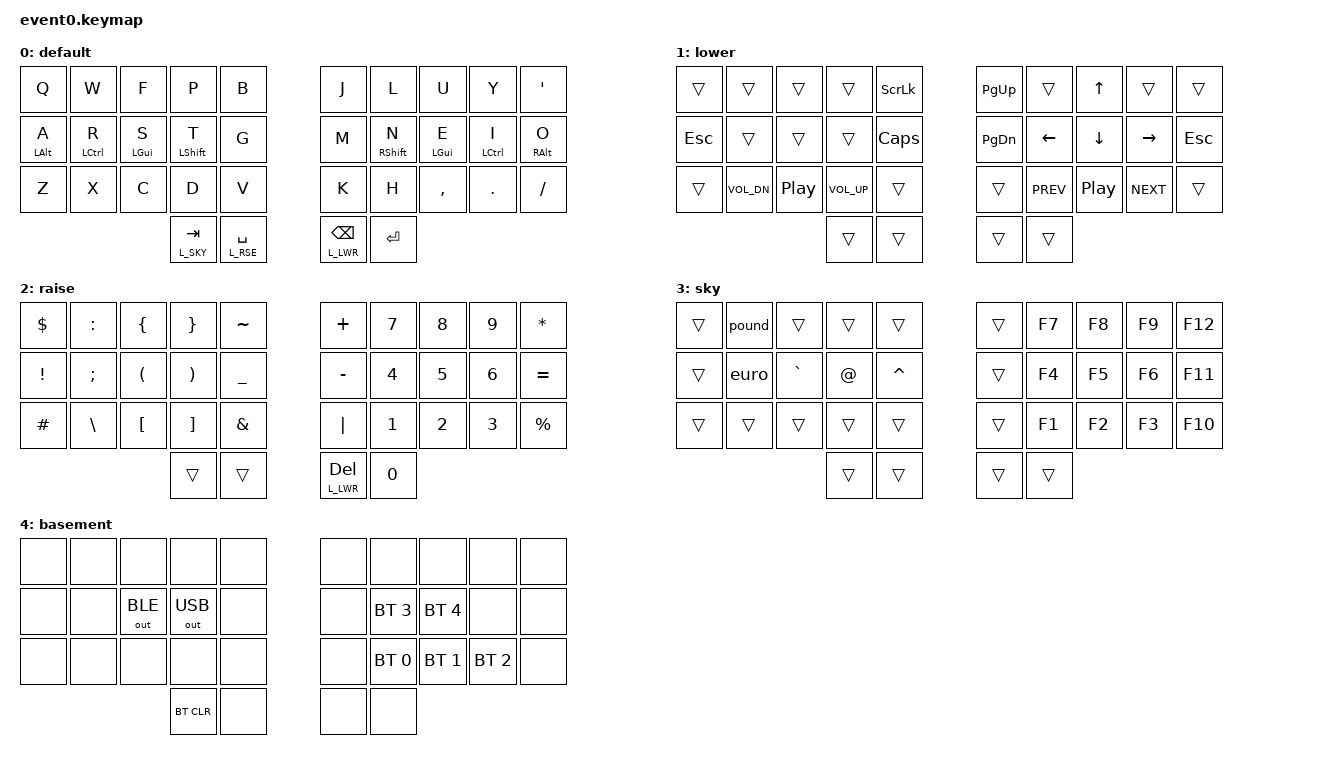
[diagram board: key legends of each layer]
#include <behaviors.dtsi>
#include <dt-bindings/zmk/keys.h>
#include <dt-bindings/zmk/bt.h>
#include <dt-bindings/zmk/outputs.h>

#define L_DFL 0
#define L_LWR 1
#define L_RSE 2
#define L_SKY 3
#define L_BSM 4

&mt {
	// Only trigger the mod behaviour when the time has expired
	flavor = "tap-preferred";
	tapping-term-ms = <180>;
	quick-tap-ms = <180>;
};
&lt {
	// Only trigger the layer behaviour when the time has expired
	flavor = "tap-preferred";
	tapping-term-ms = <180>;
	quick-tap-ms = <180>;
};

/ {
	behaviors {
		sm: shift_mod {
			compatible = "zmk,behavior-hold-tap";
			label = "SHIFT_MOD";
			#binding-cells = <2>;
			bindings = <&kp>, <&kp>;

			// Trigger the mod behaviour when the time has expired or the other
			// key is released while the mod is still down
			flavor = "balanced";
			tapping-term-ms = <150>;
			quick-tap-ms = <180>;
		};

		// IBus unicode (Linux only)
		euro: euro {
			compatible = "zmk,behavior-macro";
			label = "IBUS_EURO";
			#binding-cells = <0>;

			wait-ms = <5>;
			tap-ms = <5>;
			bindings = <&kp LC(LS(U))>, <&kp N2>, <&kp N0>, <&kp A>, <&kp C>, <&kp SPACE>;
		};
		pound: pound {
			compatible = "zmk,behavior-macro";
			label = "IBUS_POUND";
			#binding-cells = <0>;

			wait-ms = <5>;
			tap-ms = <5>;
			bindings = <&kp LC(LS(U))>, <&kp A>, <&kp N3>, <&kp SPACE>;
		};
	};

	conditional_layers {
		compatible = "zmk,conditional-layers";

		basement {
			if-layers = <L_LWR L_RSE>;
			then-layer = <L_BSM>;
		};
	};

	keymap {
		compatible = "zmk,keymap";

		/* Layer template
		my_layer {
			bindings = <
				&trans &trans &trans &trans &trans                 &trans &trans &trans &trans &trans
				&trans &trans &trans &trans &trans                 &trans &trans &trans &trans &trans
				&trans &trans &trans &trans &trans                 &trans &trans &trans &trans &trans
				                            &trans &trans   &trans &trans
			>;
		};
		*/
		/* Layer template (none instead of transparency)
		my_layer {
			bindings = <
				&none &none &none &none &none               &none &none &none &none &none
				&none &none &none &none &none               &none &none &none &none &none
				&none &none &none &none &none               &none &none &none &none &none
				                        &none &none   &none &none
			>;
		};
		*/

		default {
			// Colemak Mod-DH(m)
			bindings = <
				&kp Q      &kp W       &kp F      &kp P       &kp B                                          &kp J           &kp L       &kp U      &kp Y         &kp SQT
				&mt LALT A &mt LCTRL R &mt LGUI S &sm LSHFT T &kp G                                          &kp M           &sm RSHFT N &mt LGUI E &mt LCTRL I   &mt RALT O
				&kp Z      &kp X       &kp C      &kp D       &kp V                                          &kp K           &kp H       &kp COMMA  &kp DOT       &kp FSLH
				                                              &lt L_SKY TAB &lt L_RSE SPACE   &lt L_LWR BSPC &kp ENTER
			>;
		};

		lower {
			bindings = <
				&trans  &trans       &trans   &trans       &kp SLCK                 &kp PG_UP &trans     &kp UP   &trans     &trans
				&kp ESC &trans       &trans   &trans       &kp CAPS                 &kp PG_DN &kp LEFT   &kp DOWN &kp RIGHT  &kp ESC
				&trans  &kp C_VOL_DN &kp C_PP &kp C_VOL_UP &trans                   &trans    &kp C_PREV &kp C_PP &kp C_NEXT &trans
				                                             &trans   &trans   &trans &trans
			>;
		};
		raise {
			bindings = <
				&kp DLLR &kp COLON &kp LBRC &kp RBRC &kp TILDE                        &kp PLUS  &kp N7 &kp N8 &kp N9 &kp STAR
				&kp EXCL &kp SEMI  &kp LPAR &kp RPAR &kp UNDER                        &kp MINUS &kp N4 &kp N5 &kp N6 &kp EQUAL
				&kp HASH &kp BSLH  &kp LBKT &kp RBKT &kp AMPS                         &kp PIPE  &kp N1 &kp N2 &kp N3 &kp PRCNT
				                                     &trans    &trans   &lt L_LWR DEL &kp N0
			>;
		};

		sky {
			bindings = <
				&trans &pound &trans    &trans &trans             &trans &kp F7 &kp F8 &kp F9 &kp F12
				&trans &euro  &kp GRAVE &kp AT &kp CARET          &trans &kp F4 &kp F5 &kp F6 &kp F11
				&trans &trans &trans    &trans &trans             &trans &kp F1 &kp F2 &kp F3 &kp F10
				                               &trans    &trans   &trans &trans
			>;
		};

		basement {
			bindings = <
				&none &none &none        &none        &none                    &none &none        &none        &none        &none
				&none &none &out OUT_BLE &out OUT_USB &none                    &none &bt BT_SEL 3 &bt BT_SEL 4 &none        &none
				&none &none &none        &none        &none                    &none &bt BT_SEL 0 &bt BT_SEL 1 &bt BT_SEL 2 &none
				                                      &bt BT_CLR &none   &none &none
			>;
		};
	};
};
